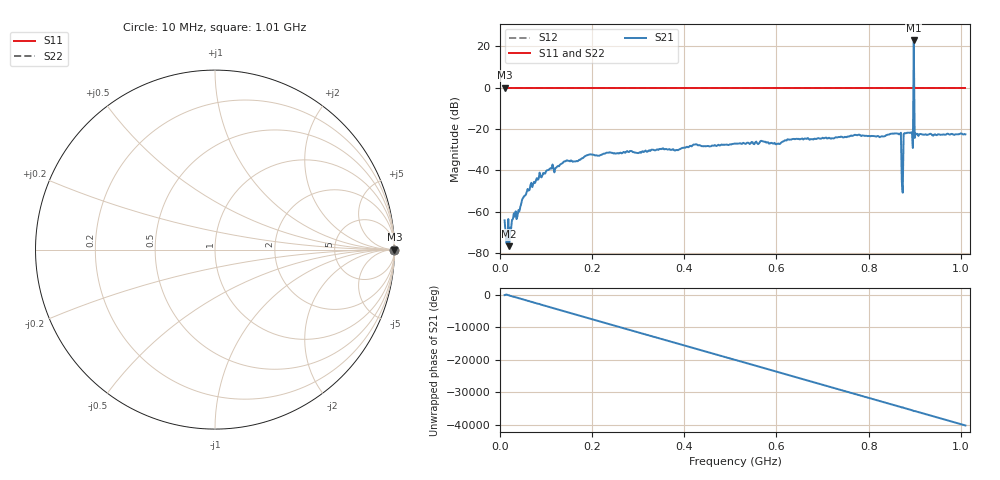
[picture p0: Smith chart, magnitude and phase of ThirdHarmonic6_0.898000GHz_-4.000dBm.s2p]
! 8/16/2025 5:27:49 AM
! C:\ANRITSUVNA\TEMP\TEMP.S2P
! CHANNEL.1
! TR.MEASUREMENT
! RAW.DATA
! RF.CORRECTION.OFF
! AVERAGING.OFF
! IF.BANDWIDTH: 5KHZ
! SWEEPTYPE:  FREQ.SWEEP(Linear)
! Reference Plane Port Info
! PORT:  PORT1  PORT2
! DISTANCE:  0  m  0  m
! TIME:  0  s  0  s
! PHASE.OFFSET:  0  deg.  0  deg.
! LOSS:  0  dB  0  dB
! REF.LOSS:  0  dB  0  dB
! REF.FREQ:  0  Hz  0  Hz
! Power Info
! POWER:  -20  dBm  -20  dBm
! EFF.POWER:  -20  dBm  -20  dBm
! SOURCE.ATTEN:  0  dB  0  dB
! TEST.ATTEN:  0  dB  0  dB
# GHZ S RI R 50.0
! FREQ.GHZ  S11RE  S11IM  S21RE  S21IM  S12RE  S12IM  S22RE  S22IM
!; PortSelection: Port_12
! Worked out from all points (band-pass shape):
!   501 points, 10 MHz to 1.01 GHz, reference 50 ohm
!   highest |S21| = 22.73 dB at 898 MHz (marker M1); lowest = -76.6 dB at 20 MHz (marker M2)
!   |S21| within 3 dB of the highest: 897.8845 MHz to 898.1275 MHz (243 kHz wide, 0.0271 % of centre)
!   lowest |S11| = 0.0 dB at 10 MHz (marker M3)
!   |S11| at or under -10 dB: nowhere
!   |S22| runs from 0.0 to 0.0 dB; largest |S21 - S12| = 13
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0.01  1 0  -0.000352 -0.000513  1 0  1 0
0.016  1 0  0.000116 -0.000146  1 0  1 0
0.02  1 0  -0.000145 2.72e-05  1 0  1 0
0.03  1 0  0.000115 0.000901  1 0  1 0
0.04  1 0  0.000914 0.000596  1 0  1 0
0.082  1 0  -0.00285 0.00517  1 0  1 0
0.142  1 0  -0.0151 -0.0066  1 0  1 0
0.178  1 0  -0.019 -0.0046  1 0  1 0
0.344  1 0  0.0309 -0.00473  1 0  1 0
0.51  1 0  -0.0427 0.0124  1 0  1 0
0.678  1 0  -0.0182 -0.0536  1 0  1 0
0.844  1 0  0.0422 0.0596  1 0  1 0
0.866  1 0  -0.0321 -0.0666  1 0  1 0
0.87  1 0  0.00789 0.0805  1 0  1 0
0.876  1 0  -0.0697 -0.0291  1 0  1 0
0.88  1 0  0.0589 0.0511  1 0  1 0
0.892  1 0  0.00943 -0.0819  1 0  1 0
0.894  1 0  -0.0805 -0.0193  1 0  1 0
0.898  1 0  5.52 -12.53  1 0  1 0
0.902  1 0  -0.0535 -0.0564  1 0  1 0
0.904  1 0  -0.0639 0.039  1 0  1 0
1.01  1 0  -0.0678 -0.0296  1 0  1 0
